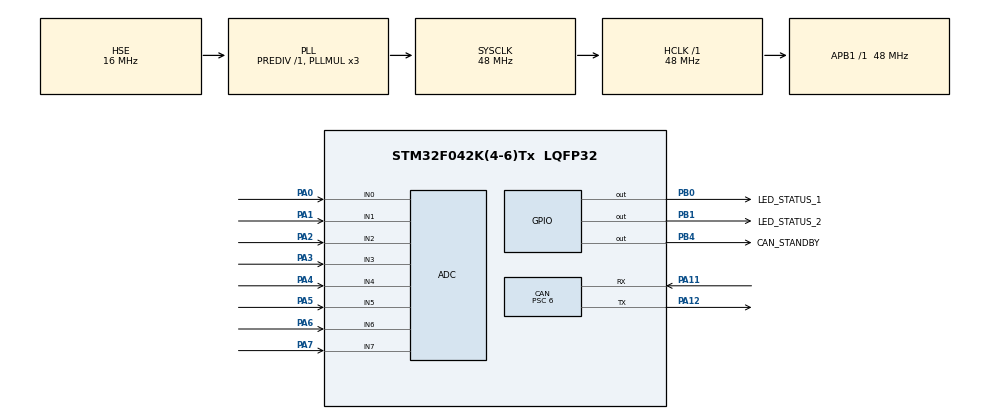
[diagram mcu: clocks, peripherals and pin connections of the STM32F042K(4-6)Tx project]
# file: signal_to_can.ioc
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ADC.ClockPrescaler=ADC_CLOCK_ASYNC_DIV1
ADC.ContinuousConvMode=ENABLE
ADC.DMAContinuousRequests=ENABLE
ADC.Overrun=ADC_OVR_DATA_OVERWRITTEN
CAN.BS1=CAN_BS1_13TQ
CAN.BS2=CAN_BS2_2TQ
CAN.CalculateBaudRate=500000
CAN.CalculateTimeBit=2000
CAN.CalculateTimeQuantum=125.0
CAN.Prescaler=6
Dma.ADC.0.Direction=DMA_PERIPH_TO_MEMORY
Dma.ADC.0.Instance=DMA1_Channel1
Dma.ADC.0.MemDataAlignment=DMA_MDATAALIGN_HALFWORD
Dma.ADC.0.MemInc=DMA_MINC_ENABLE
Dma.ADC.0.Mode=DMA_CIRCULAR
Dma.ADC.0.PeriphDataAlignment=DMA_PDATAALIGN_HALFWORD
Dma.ADC.0.PeriphInc=DMA_PINC_DISABLE
Dma.ADC.0.Priority=DMA_PRIORITY_MEDIUM
Dma.Request0=ADC
Mcu.Family=STM32F0
Mcu.Name=STM32F042K(4-6)Tx
Mcu.Package=LQFP32
NVIC.DMA1_Channel1_IRQn=true\:0\:0\:false\:false\:true\:false\:true\:true
PA0.Mode=IN0
PA0.Signal=ADC_IN0
PA1.Mode=IN1
PA1.Signal=ADC_IN1
PA11.GPIO_PuPd=GPIO_PULLUP
PA11.GPIO_Speed=GPIO_SPEED_FREQ_HIGH
PA11.Mode=CAN_Activate
PA11.Signal=CAN_RX
PA12.GPIO_PuPd=GPIO_NOPULL
PA12.Mode=CAN_Activate
PA12.Signal=CAN_TX
PA13.Mode=Serial_Wire
PA13.Signal=SYS_SWDIO
PA14.Mode=Serial_Wire
PA14.Signal=SYS_SWCLK
PA2.Mode=IN2
PA2.Signal=ADC_IN2
PA3.Mode=IN3
PA3.Signal=ADC_IN3
PA4.Mode=IN4
PA4.Signal=ADC_IN4
PA5.Mode=IN5
PA5.Signal=ADC_IN5
PA6.Mode=IN6
PA6.Signal=ADC_IN6
PA7.Mode=IN7
PA7.Signal=ADC_IN7
PB0.GPIO_Label=LED_STATUS_1
PB0.Signal=GPIO_Output
PB1.GPIO_Label=LED_STATUS_2
PB1.Signal=GPIO_Output
PB4.GPIO_Label=CAN_STANDBY
PB4.Signal=GPIO_Output
PF0-OSC_IN.Mode=HSE-External-Oscillator
PF0-OSC_IN.Signal=RCC_OSC_IN
PF1-OSC_OUT.Mode=HSE-External-Oscillator
PF1-OSC_OUT.Signal=RCC_OSC_OUT
ProjectManager.HeapSize=0x200
ProjectManager.StackSize=0x400
ProjectManager.TargetToolchain=STM32CubeIDE
RCC.AHBFreq_Value=48000000
RCC.APB1Freq_Value=48000000
RCC.APB1TimFreq_Value=48000000
RCC.HCLKFreq_Value=48000000
RCC.HSE_VALUE=16000000
RCC.PLLMUL=RCC_PLL_MUL3
RCC.PLLSourceVirtual=RCC_PLLSOURCE_HSE
RCC.SYSCLKFreq_VALUE=48000000
RCC.SYSCLKSource=RCC_SYSCLKSOURCE_PLLCLK
board=custom

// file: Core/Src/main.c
/* USER CODE BEGIN Header */
/**
 ******************************************************************************
 * @file           : main.c
 * @brief          : Main program body
 ******************************************************************************
 * @attention
 *
 * Copyright (c) 2025 STMicroelectronics.
 * All rights reserved.
 *
 * This software is licensed under terms that can be found in the LICENSE file
 * in the root directory of this software component.
 * If no LICENSE file comes with this software, it is provided AS-IS.
 *
 ******************************************************************************
 */
/* USER CODE END Header */
#include "main.h"

/* USER CODE BEGIN Includes */
#include <stdbool.h>
#include <string.h>
#include <math.h>
#include "can_module.h"
#include "adc_module.h"
#include "process_signals.h"
/* USER CODE END Includes */

/* USER CODE BEGIN PTD */
typedef struct {
	volatile HAL_StatusTypeDef last_tx_status; /* return from CAN_Module_Send */
	volatile uint32_t last_hal_error; /* HAL_CAN_GetError() */
	volatile uint32_t last_esr; /* CAN->ESR snapshot */
	volatile uint32_t last_tsr; /* CAN->TSR snapshot */
	volatile uint32_t tx_ok_count; /* TX mailbox complete count */
	volatile uint32_t tx_error_count; /* HAL error callback count */
} can_debug_t;

extern can_debug_t g_can_dbg;
/* USER CODE END PTD */

/* USER CODE BEGIN PD */

// Heart beat
#define HEARTBEAT_INTERVAL_MS 500

// CAN bus

// ADC

// Test
#define TEST_CAN_ID 0x124
#define TEST_SEND_INTERVAL_MS    1000u
/* USER CODE END PD */

ADC_HandleTypeDef hadc;
DMA_HandleTypeDef hdma_adc;

CAN_HandleTypeDef hcan;

/* USER CODE BEGIN PV */

// Heart beat
static uint32_t heartbeat_tick = 0;

// CAN bus
uint32_t baud_enum = 2; // 2 -> 500 kbps

// Logic
uint32_t sample_period = 20; // sample at 50 Hz
uint32_t timeout_period = 10;

// Test
can_debug_t g_can_dbg = { 0 };
static uint32_t last_tick = 0;

/* USER CODE END PV */

void SystemClock_Config(void);
static void MX_GPIO_Init(void);
static void MX_DMA_Init(void);
static void MX_CAN_Init(void);
static void MX_ADC_Init(void);
/* USER CODE BEGIN PFP */

void Heartbeat_Task(void);
static void Test_Can_Task(uint16_t value);

/* USER CODE END PFP */

int main(void)
{

  /* MCU Configuration--------------------------------------------------------*/

  /* Reset of all peripherals, Initializes the Flash interface and the Systick. */
  HAL_Init();

  /* Configure the system clock */
  SystemClock_Config();

  /* Initialize all configured peripherals */
  MX_GPIO_Init();
  MX_DMA_Init();
  MX_CAN_Init();
  MX_ADC_Init();
  /* USER CODE BEGIN 2 */

	// Set Standby Pin on CAN transceiver low (normal mode) before initializing
	HAL_GPIO_WritePin(GPIOB, CAN_STANDBY_Pin, GPIO_PIN_RESET);

	if (CAN_Module_Init(&hcan, baud_enum) != HAL_OK) {
		// TODO
		Error_Handler();
	}

	// Start the bare-bones ADC module
	if (ADC_Module_Init(&hadc) != HAL_OK) {
		// TODO
	}

	Process_Signals_Init();

	last_tick = HAL_GetTick();
	heartbeat_tick = last_tick;
  /* USER CODE END 2 */

  /* Infinite loop */
  while (1)
  {

    /* USER CODE BEGIN 3 */
	  Heartbeat_Task();
	  Process_Signals_Update();
	  Process_Signals_Send_Can_If_Due(sample_period, timeout_period);
  }
  /* USER CODE END 3 */
}

void SystemClock_Config(void)
{
  RCC_OscInitTypeDef RCC_OscInitStruct = {0};
  RCC_ClkInitTypeDef RCC_ClkInitStruct = {0};

  /** Initializes the RCC Oscillators according to the specified parameters
  * in the RCC_OscInitTypeDef structure.
  */
  RCC_OscInitStruct.OscillatorType = RCC_OSCILLATORTYPE_HSI14|RCC_OSCILLATORTYPE_HSE;
  RCC_OscInitStruct.HSEState = RCC_HSE_ON;
  RCC_OscInitStruct.HSI14State = RCC_HSI14_ON;
  RCC_OscInitStruct.HSI14CalibrationValue = 16;
  RCC_OscInitStruct.PLL.PLLState = RCC_PLL_ON;
  RCC_OscInitStruct.PLL.PLLSource = RCC_PLLSOURCE_HSE;
  RCC_OscInitStruct.PLL.PLLMUL = RCC_PLL_MUL3;
  RCC_OscInitStruct.PLL.PREDIV = RCC_PREDIV_DIV1;
  if (HAL_RCC_OscConfig(&RCC_OscInitStruct) != HAL_OK)
  {
    Error_Handler();
  }

  /** Initializes the CPU, AHB and APB buses clocks
  */
  RCC_ClkInitStruct.ClockType = RCC_CLOCKTYPE_HCLK|RCC_CLOCKTYPE_SYSCLK
                              |RCC_CLOCKTYPE_PCLK1;
  RCC_ClkInitStruct.SYSCLKSource = RCC_SYSCLKSOURCE_PLLCLK;
  RCC_ClkInitStruct.AHBCLKDivider = RCC_SYSCLK_DIV1;
  RCC_ClkInitStruct.APB1CLKDivider = RCC_HCLK_DIV1;

  if (HAL_RCC_ClockConfig(&RCC_ClkInitStruct, FLASH_LATENCY_1) != HAL_OK)
  {
    Error_Handler();
  }
}

static void MX_ADC_Init(void)
{

  ADC_ChannelConfTypeDef sConfig = {0};

  /** Configure the global features of the ADC (Clock, Resolution, Data Alignment and number of conversion)
  */
  hadc.Instance = ADC1;
  hadc.Init.ClockPrescaler = ADC_CLOCK_ASYNC_DIV1;
  hadc.Init.Resolution = ADC_RESOLUTION_12B;
  hadc.Init.DataAlign = ADC_DATAALIGN_RIGHT;
  hadc.Init.ScanConvMode = ADC_SCAN_DIRECTION_FORWARD;
  hadc.Init.EOCSelection = ADC_EOC_SINGLE_CONV;
  hadc.Init.LowPowerAutoWait = DISABLE;
  hadc.Init.LowPowerAutoPowerOff = DISABLE;
  hadc.Init.ContinuousConvMode = ENABLE;
  hadc.Init.DiscontinuousConvMode = DISABLE;
  hadc.Init.ExternalTrigConv = ADC_SOFTWARE_START;
  hadc.Init.ExternalTrigConvEdge = ADC_EXTERNALTRIGCONVEDGE_NONE;
  hadc.Init.DMAContinuousRequests = ENABLE;
  hadc.Init.Overrun = ADC_OVR_DATA_OVERWRITTEN;
  if (HAL_ADC_Init(&hadc) != HAL_OK)
  {
    Error_Handler();
  }

  /** Configure for the selected ADC regular channel to be converted.
  */
  sConfig.Channel = ADC_CHANNEL_0;
  sConfig.Rank = ADC_RANK_CHANNEL_NUMBER;
  sConfig.SamplingTime = ADC_SAMPLETIME_1CYCLE_5;
  if (HAL_ADC_ConfigChannel(&hadc, &sConfig) != HAL_OK)
  {
    Error_Handler();
  }

  /** Configure for the selected ADC regular channel to be converted.
  */
  sConfig.Channel = ADC_CHANNEL_1;
  if (HAL_ADC_ConfigChannel(&hadc, &sConfig) != HAL_OK)
  {
    Error_Handler();
  }

  /** Configure for the selected ADC regular channel to be converted.
  */
  sConfig.Channel = ADC_CHANNEL_2;
  if (HAL_ADC_ConfigChannel(&hadc, &sConfig) != HAL_OK)
  {
    Error_Handler();
  }

  /** Configure for the selected ADC regular channel to be converted.
  */
  sConfig.Channel = ADC_CHANNEL_3;
  if (HAL_ADC_ConfigChannel(&hadc, &sConfig) != HAL_OK)
  {
    Error_Handler();
  }

  /** Configure for the selected ADC regular channel to be converted.
  */
  sConfig.Channel = ADC_CHANNEL_4;
  if (HAL_ADC_ConfigChannel(&hadc, &sConfig) != HAL_OK)
  {
    Error_Handler();
  }

  /** Configure for the selected ADC regular channel to be converted.
  */
  sConfig.Channel = ADC_CHANNEL_5;
  if (HAL_ADC_ConfigChannel(&hadc, &sConfig) != HAL_OK)
  {
    Error_Handler();
  }

  /** Configure for the selected ADC regular channel to be converted.
  */
  sConfig.Channel = ADC_CHANNEL_6;
  if (HAL_ADC_ConfigChannel(&hadc, &sConfig) != HAL_OK)
  {
    Error_Handler();
  }

  /** Configure for the selected ADC regular channel to be converted.
  */
  sConfig.Channel = ADC_CHANNEL_7;
  if (HAL_ADC_ConfigChannel(&hadc, &sConfig) != HAL_OK)
  {
    Error_Handler();
  }

}

static void MX_CAN_Init(void)
{

  hcan.Instance = CAN;
  hcan.Init.Prescaler = 6;
  hcan.Init.Mode = CAN_MODE_NORMAL;
  hcan.Init.SyncJumpWidth = CAN_SJW_1TQ;
  hcan.Init.TimeSeg1 = CAN_BS1_13TQ;
  hcan.Init.TimeSeg2 = CAN_BS2_2TQ;
  hcan.Init.TimeTriggeredMode = DISABLE;
  hcan.Init.AutoBusOff = DISABLE;
  hcan.Init.AutoWakeUp = DISABLE;
  hcan.Init.AutoRetransmission = DISABLE;
  hcan.Init.ReceiveFifoLocked = DISABLE;
  hcan.Init.TransmitFifoPriority = DISABLE;
  if (HAL_CAN_Init(&hcan) != HAL_OK)
  {
    Error_Handler();
  }

}

static void MX_DMA_Init(void)
{

  /* DMA controller clock enable */
  __HAL_RCC_DMA1_CLK_ENABLE();

  /* DMA interrupt init */
  /* DMA1_Channel1_IRQn interrupt configuration */
  HAL_NVIC_SetPriority(DMA1_Channel1_IRQn, 0, 0);
  HAL_NVIC_EnableIRQ(DMA1_Channel1_IRQn);

}

static void MX_GPIO_Init(void)
{
  GPIO_InitTypeDef GPIO_InitStruct = {0};

  /* GPIO Ports Clock Enable */
  __HAL_RCC_GPIOF_CLK_ENABLE();
  __HAL_RCC_GPIOA_CLK_ENABLE();
  __HAL_RCC_GPIOB_CLK_ENABLE();

  /*Configure GPIO pin Output Level */
  HAL_GPIO_WritePin(GPIOB, LED_STATUS_1_Pin|LED_STATUS_2_Pin|CAN_STANDBY_Pin, GPIO_PIN_RESET);

  /*Configure GPIO pins : LED_STATUS_1_Pin LED_STATUS_2_Pin CAN_STANDBY_Pin */
  GPIO_InitStruct.Pin = LED_STATUS_1_Pin|LED_STATUS_2_Pin|CAN_STANDBY_Pin;
  GPIO_InitStruct.Mode = GPIO_MODE_OUTPUT_PP;
  GPIO_InitStruct.Pull = GPIO_NOPULL;
  GPIO_InitStruct.Speed = GPIO_SPEED_FREQ_LOW;
  HAL_GPIO_Init(GPIOB, &GPIO_InitStruct);

}

/* USER CODE BEGIN 4 */

void Heartbeat_Task(void) {
	/* Check if enough time has passed */
	if ((HAL_GetTick() - heartbeat_tick) >= HEARTBEAT_INTERVAL_MS) {
		/* Toggle the LED */
		HAL_GPIO_TogglePin(GPIOB, LED_STATUS_1_Pin); // Example: Port B

		/* Update last toggle time */
		heartbeat_tick = HAL_GetTick();
	}
}

/**
 * @brief Periodically send a simple CAN test message and flash LED on success.
 *        Note: Updated to use CAN_Module_Send_Std() from can_module.c.
 */
static void Test_Can_Task(uint16_t value) {
	uint32_t now = HAL_GetTick();
	if ((now - last_tick) < TEST_SEND_INTERVAL_MS) {
		return;
	}
	last_tick = now;

	/* Minimal 1-byte test payload (kept as-is). */
	uint8_t data[2] = {(uint8_t)((value >> 8) & 0xFFu), (uint8_t)(value & 0xFFu)};

	/* Short TX timeout so we don't block the task loop. */
	const uint32_t tx_timeout_ms = 10u;

	/* Updated call: (std_id, data_ptr, dlc, timeout_ms). */
	HAL_StatusTypeDef st = CAN_Module_Send_Std(TEST_CAN_ID, data, 2u, tx_timeout_ms);

	g_can_dbg.last_tx_status = st;
	g_can_dbg.last_hal_error = HAL_CAN_GetError(&hcan);
	g_can_dbg.last_esr = hcan.Instance->ESR;
	g_can_dbg.last_tsr = hcan.Instance->TSR;

	if (st == HAL_OK) {
		HAL_GPIO_TogglePin(GPIOB, LED_STATUS_2_Pin);
	}
}

/* Called when a mailbox actually finishes transmitting */
void HAL_CAN_TxMailbox0CompleteCallback(CAN_HandleTypeDef *h) {
	(void) h;
	g_can_dbg.tx_ok_count++;
}

void HAL_CAN_TxMailbox1CompleteCallback(CAN_HandleTypeDef *h) {
	(void) h;
	g_can_dbg.tx_ok_count++;
}

void HAL_CAN_TxMailbox2CompleteCallback(CAN_HandleTypeDef *h) {
	(void) h;
	g_can_dbg.tx_ok_count++;
}

/* Called on any CAN error (ACK error, bus-off, etc.) */
void HAL_CAN_ErrorCallback(CAN_HandleTypeDef *h) {
	g_can_dbg.last_hal_error = HAL_CAN_GetError(h);
	g_can_dbg.last_esr = h->Instance->ESR; /* includes TEC/REC/LEC */
	g_can_dbg.last_tsr = h->Instance->TSR;
	g_can_dbg.tx_error_count++;
}

/* USER CODE END 4 */

void Error_Handler(void)
{
	__disable_irq();
	while (1) {
	}
}
